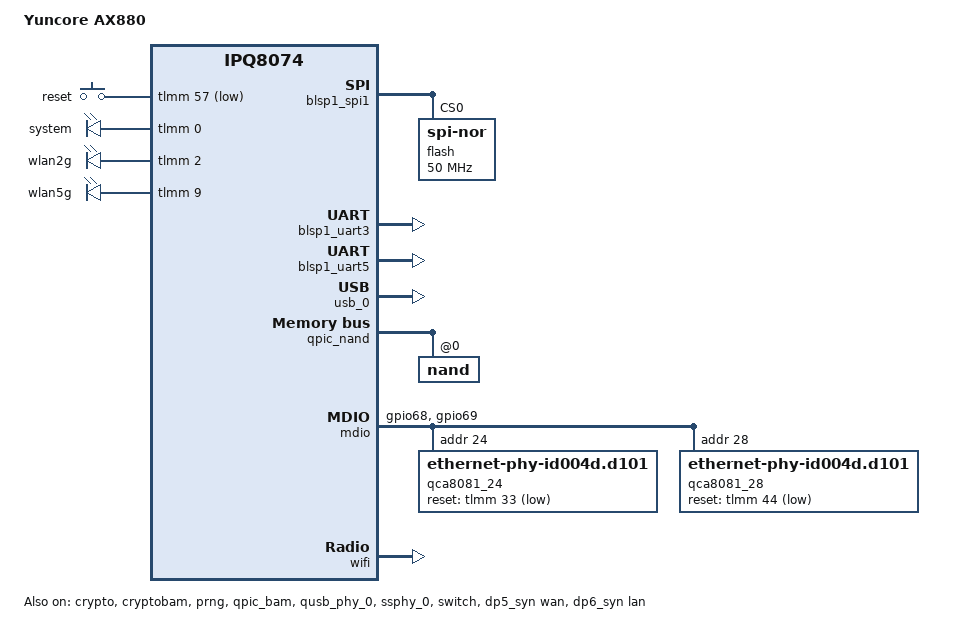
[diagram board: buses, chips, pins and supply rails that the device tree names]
// SPDX-License-Identifier: MIT, GPL-2.0 or later
/* Copyright (c) 2023, Ruslan Isaev <legale.legale@gmail.com> */

/dts-v1/;

#include "ipq8074.dtsi"
#include "ipq8074-hk-cpu.dtsi"
#include "ipq8074-ess.dtsi"
#include <dt-bindings/gpio/gpio.h>
#include <dt-bindings/input/input.h>

/ {
	model = "Yuncore AX880";
	compatible = "yuncore,ax880", "qcom,ipq8074", "qcom,ipq8074-hk09";

	aliases {
		serial0 = &blsp1_uart5;
		serial1 = &blsp1_uart3;
		led-boot = &led_system;
		led-failsafe = &led_system;
		led-running = &led_system;
		led-upgrade = &led_system;
		/* Aliases as required by u-boot to patch MAC addresses */
		ethernet0 = &dp5_syn;
		ethernet1 = &dp6_syn;
		label-mac-device = &dp5_syn;
	};

	chosen {
		stdout-path = "serial0:115200n8";
		bootargs-append = " root=/dev/ubiblock0_1";
	};

	keys {
		compatible = "gpio-keys";
		pinctrl-0 = <&button_pins>;
		pinctrl-names = "default";

		reset {
			label = "reset";
			gpios = <&tlmm 57 GPIO_ACTIVE_LOW>;
			linux,code = <KEY_RESTART>;
		};
	};

	leds {
		compatible = "gpio-leds";

		led_system: system {
			label = "system";
			color = "red";
			gpios = <&tlmm 0 GPIO_ACTIVE_HIGH>;
		};

		wlan2g {
			label = "wlan2g";
			color = "green";
			linux,default-trigger = "phy0tpt";
			gpios = <&tlmm 2 GPIO_ACTIVE_HIGH>;
		};

		wlan5g {
			label = "wlan5g";
			color = "blue";
			linux,default-trigger = "phy1tpt";
			gpios = <&tlmm 9 GPIO_ACTIVE_HIGH>;
		};
	};
};

&tlmm {
	mdio_pins: mdio-pins {
		mdc {
			pins = "gpio68";
			function = "mdc";
			drive-strength = <8>;
			bias-pull-up;
		};

		mdio {
			pins = "gpio69";
			function = "mdio";
			drive-strength = <8>;
			bias-pull-up;
		};
	};

	button_pins: button_pins {
		reset_button {
			pins = "gpio57";
			function = "gpio";
			drive-strength = <8>;
			bias-pull-up;
		};
	};
};

&blsp1_spi1 {
	status = "okay";

	flash@0 {
		#address-cells = <1>;
		#size-cells = <1>;
		reg = <0>;
		compatible = "jedec,spi-nor";
		spi-max-frequency = <50000000>;

		partitions {
			//SPI flash memory partitions layout is dynamic
			compatible = "qcom,smem-part";
		};
	};
};

//serial interface
&blsp1_uart3 {
	status = "okay";
};

&blsp1_uart5 {
	status = "okay";
};

&crypto {
	status = "okay";
};

&cryptobam {
	status = "okay";
};

&prng {
	status = "okay";
};

&qpic_bam {
	status = "okay";
};

&qusb_phy_0 {
	status = "okay";
};

&ssphy_0 {
	status = "okay";
};

&usb_0 {
	status = "okay";
};

&qpic_nand {
	status = "okay";

	nand@0 {
		reg = <0>;
		nand-ecc-strength = <4>;
		nand-ecc-step-size = <512>;
		nand-bus-width = <8>;

		partitions {
			//NAND flash memory partitions layout is dynamic
			compatible = "qcom,smem-part";
		};
	};
};

&mdio {
	status = "okay";

	pinctrl-0 = <&mdio_pins>;
	pinctrl-names = "default";
   
	qca8081_24: ethernet-phy@24 {
		compatible = "ethernet-phy-id004d.d101";
		reg = <24>;
		reset-gpios = <&tlmm 33 GPIO_ACTIVE_LOW>;
	};

	qca8081_28: ethernet-phy@28 {
		compatible = "ethernet-phy-id004d.d101";
		reg = <28>;
		reset-gpios = <&tlmm 44 GPIO_ACTIVE_LOW>;
	};
};

&switch {
	status = "okay";

	switch_cpu_bmp = <0x1>;  /* cpu port bitmap */
	switch_lan_bmp = <0x3e>; /* lan port bitmap */
	switch_wan_bmp = <0x40>; /* wan port bitmap */
	switch_mac_mode = <0xff>; /* mac mode for uniphy instance0*/
	switch_mac_mode1 = <0xf>; /* mac mode for uniphy instance1*/
	switch_mac_mode2 = <0xf>; /* mac mode for uniphy instance2*/
	bm_tick_mode = <0>; /* bm tick mode */
	tm_tick_mode = <0>; /* tm tick mode */

	qcom,port_phyinfo {
		port@4 {
			port_id = <5>;
			phy_address = <24>;
			port_mac_sel = "QGMAC_PORT";
		};
		port@5 {
			port_id = <6>;
			phy_address = <28>;
			port_mac_sel = "QGMAC_PORT";
		};
	};
};

&edma {
	status = "okay";
};

&dp5_syn {
	status = "okay";
	phy-handle = <&qca8081_24>;
	label = "wan";
};

&dp6_syn {
	status = "okay";
	phy-handle = <&qca8081_28>;
	label = "lan";
};

&wifi {
	status = "okay";
	qcom,ath11k-calibration-variant = "Yuncore-AX880";
};
